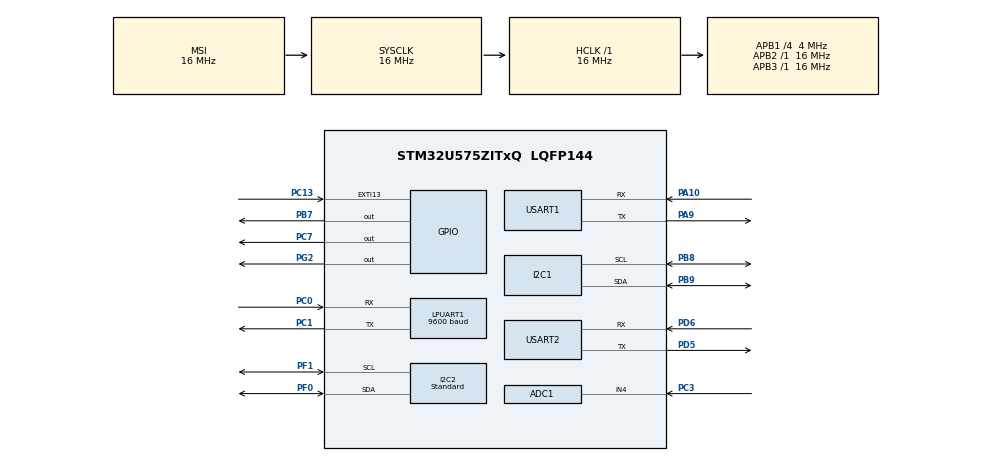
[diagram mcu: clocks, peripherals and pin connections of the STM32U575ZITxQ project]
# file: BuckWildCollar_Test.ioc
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ADC1.Channel-0\#ChannelRegularConversion=ADC_CHANNEL_4
ADC1.ClockPrescaler=ADC_CLOCK_ASYNC_DIV1
ADC1.ContinuousConvMode=ENABLE
ADC1.EnableRegularConversion=ENABLE
ADC1.MonitoredBy-0\#ChannelRegularConversion=__NULL
ADC1.NbrOfConversion=1
ADC1.NbrOfConversionFlag=1
ADC1.OffsetNumber-0\#ChannelRegularConversion=ADC_OFFSET_NONE
ADC1.OversamplingMode=ENABLE
ADC1.Rank-0\#ChannelRegularConversion=1
ADC1.Ratio1=256
ADC1.Resolution=ADC_RESOLUTION_14B
ADC1.RightBitShift=ADC_RIGHTBITSHIFT_8
ADC1.SamplingTime-0\#ChannelRegularConversion=ADC_SAMPLETIME_5CYCLE
ADC1.master=1
CORTEX_M33_NS.userName=CORTEX_M33
I2C1.Timing=0x00000E14
I2C2.AutonomousMode=AUTONOMOUS_MODE_DISABLE
I2C2.GeneralCallMode=I2C_GENERALCALL_DISABLE
I2C2.I2C_Fall_Time=300
I2C2.I2C_Rise_Time=300
I2C2.I2C_Speed_Mode=I2C_Standard
I2C2.NoStretchMode=I2C_NOSTRETCH_DISABLE
I2C2.OwnAddress=0x29
I2C2.Speed=40
I2C2.Timing=0x00201E3D
LPUART1.BaudRate=9600
Mcu.Family=STM32U5
Mcu.Name=STM32U575ZITxQ
Mcu.Package=LQFP144
NUCLEO-U575ZI-Q.BUTTON=1
NUCLEO-U575ZI-Q.LD1=true
NUCLEO-U575ZI-Q.LD2=true
NUCLEO-U575ZI-Q.LD3=true
NUCLEO-U575ZI-Q.VCP=false
NVIC.EXTI13_IRQn=true\:0\:0\:false\:false\:true\:false\:true\:true
NVIC.I2C1_EV_IRQn=true\:0\:0\:false\:false\:true\:true\:true\:true
NVIC.I2C2_ER_IRQn=true\:0\:0\:false\:false\:true\:true\:true\:true
NVIC.I2C2_EV_IRQn=true\:0\:0\:false\:false\:true\:true\:true\:true
NVIC.PriorityGroup=NVIC_PRIORITYGROUP_3
NVIC.TIM17_IRQn=true\:7\:0\:false\:false\:true\:false\:true\:true
NVIC.TimeBase=TIM17_IRQn
NVIC.TimeBaseIP=TIM17
NVIC.USART1_IRQn=true\:0\:0\:false\:false\:true\:true\:true\:true
NVIC.USART2_IRQn=true\:0\:0\:false\:false\:true\:true\:true\:true
PA10.Mode=Asynchronous
PA10.Signal=USART1_RX
PA13\ (JTMS/SWDIO).Signal=DEBUG_JTMS-SWDIO
PA14\ (JTCK/SWCLK).Signal=DEBUG_JTCK-SWCLK
PA9.Mode=Asynchronous
PA9.Signal=USART1_TX
PB3\ (JTDO/TRACESWO).Signal=DEBUG_JTDO-SWO
PB7.Signal=GPIO_Output
PB8.Mode=I2C
PB8.Signal=I2C1_SCL
PB9.Mode=I2C
PB9.Signal=I2C1_SDA
PC0.Mode=Asynchronous
PC0.Signal=LPUART1_RX
PC1.Mode=Asynchronous
PC1.Signal=LPUART1_TX
PC13.Signal=GPXTI13
PC14-OSC32_IN\ (PC14).Signal=RCC_OSC32_IN
PC15-OSC32_OUT\ (PC15).Signal=RCC_OSC32_OUT
PC3.Mode=IN4-Single-Ended
PC3.Signal=ADC1_IN4
PC7.Signal=GPIO_Output
PD5.Mode=Asynchronous
PD5.Signal=USART2_TX
PD6.Mode=Asynchronous
PD6.Signal=USART2_RX
PF0.GPIO_Pu=GPIO_PULLUP
PF0.Mode=I2C
PF0.Signal=I2C2_SDA
PF1.Mode=I2C
PF1.Signal=I2C2_SCL
PG2.Signal=GPIO_Output
PWR.PowerMode=PWR_SMPS_SUPPLY
ProjectManager.HeapSize=0x200
ProjectManager.StackSize=0x400
ProjectManager.TargetToolchain=STM32CubeIDE
RCC.ADCFreq_Value=16000000
RCC.AHBFreq_Value=16000000
RCC.APB1CLKDivider=RCC_HCLK_DIV4
RCC.APB1Freq_Value=4000000
RCC.APB1TimFreq_Value=8000000
RCC.APB2Freq_Value=16000000
RCC.APB2TimFreq_Value=16000000
RCC.APB3Freq_Value=16000000
RCC.CortexFreq_Value=16000000
RCC.DACCLockSelectionVirtual=RCC_DAC1CLKSOURCE_LSI
RCC.EPOD_VALUE=16000000
RCC.HCLKFreq_Value=16000000
RCC.HSE_VALUE=16000000
RCC.HSI48_VALUE=48000000
RCC.HSI_VALUE=16000000
RCC.LSE_VALUE=32768
RCC.LSIDIV_VALUE=32000
RCC.MSIClockRange=RCC_MSIRANGE_2
RCC.MSI_VALUE=16000000
RCC.SYSCLKFreq_VALUE=16000000
RCC.USBFreq_Value=48000000
RCC.VCOOutputFreq_Value=2064000000
USART1.VirtualMode-Asynchronous=VM_ASYNC
USART2.VirtualMode-Asynchronous=VM_ASYNC
VP_ICACHE_VS_ENABLE_ICACHE_MEMORY.Mode=Memoryregions
VP_ICACHE_VS_ICACHE.Mode=DirectMappedCache
VP_LPBAMQUEUE_VS_QUEUE.Mode=QUEUEMODE
VP_LPBAM_VS_SIG1.Mode=SmartRun
VP_LPBAM_VS_SIG4.Mode=LPDMA1
VP_MEMORYMAP_VS_MEMORYMAP.Mode=CurAppReg
VP_NUCLEO-U575ZI-Q_VS_BSP_COMMON.Mode=COMMON
VP_PWR_VS_DBSignals.Mode=DisableDeadBatterySignals
VP_PWR_VS_LPOM.Mode=PowerOptimisation
VP_PWR_VS_SECSignals.Mode=Security/Privilege
VP_PWR_Vdda.Mode=isolationVdda
VP_SYS_VS_tim17.Mode=TIM17
board=NUCLEO-U575ZI-Q

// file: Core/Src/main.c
/* USER CODE BEGIN Header */
/**
  ******************************************************************************
  * @file           : main.c
  * @brief          : Main program body
  ******************************************************************************
  * @attention
  *
  * Copyright (c) 2026 STMicroelectronics.
  * All rights reserved.
  *
  * This software is licensed under terms that can be found in the LICENSE file
  * in the root directory of this software component.
  * If no LICENSE file comes with this software, it is provided AS-IS.
  *
  ******************************************************************************
  */
/* USER CODE END Header */
#include "main.h"
#include "adc.h"
#include "i2c.h"
#include "icache.h"
#include "usart.h"
#include "gpio.h"

/* USER CODE BEGIN Includes */

// stdlib Includes
#include <math.h>
#include <stdarg.h>
#include <stdbool.h>
#include <stdint.h>
#include <stdio.h>
#include <stdlib.h>
#include <string.h>

#define BUFFER_SIZE 64

// external libraries
#include "bno055.h"
#include "bno_config.h"

typedef enum{
	idle,
	button_pressed,
	active,
	orientation_receive,
	adc_receive,
} Microcontroller_State;

// Useful Variables
uint8_t uart1_tx_buffer[BUFFER_SIZE] = "Error: Initial TX1 String\r\n";
uint8_t uart1_rx_buffer[BUFFER_SIZE] = "Error: Initial RX1 String\r\n";
uint8_t uart2_tx_buffer[BUFFER_SIZE] = "Error: Initial TX2 String\r\n";
uint8_t uart2_rx_buffer[BUFFER_SIZE] = ""; // "Error: Initial RX2 String\r\n";

// ADC
// 14-bit = 16384 MAX
static int adc_resistor; // Display value directly from the ADC
static int force_resistor; // Display pseudo "resistance value"

//BNO055
bno055_t bno;
error_bno err;

static uint8_t empty_array[BUFFER_SIZE] = "";

/* USER CODE END Includes */

void SystemClock_Config(void);
static void SystemPower_Config(void);

/* USER CODE BEGIN 0 */

static void print(UART_HandleTypeDef *huart, const char *fmt, ...);
static int Get_ADC();

static void print(UART_HandleTypeDef *huart, const char *fmt, ...) {
	// Function to print messages through USART1
	// Outputs through microUSB to laptop, 115200 baud
	// Use for sending debug messages to terminal
	// Set up in the console tab on bottom, and then on the bottom right of screen click the icon to the left of the minus sign (white box with blue on top)
	// Then, do command shell console, and set Serial with 115200 baud.
  static char buffer[256];
  va_list args;
  va_start(args, fmt);
  vsnprintf(buffer, sizeof(buffer), fmt, args);
  va_end(args);

  int len = strlen(buffer);
  HAL_UART_Transmit(huart, (uint8_t *)buffer, len, -1);
  return;
}

static int Get_ADC(){
	//TODO: Add Calibration for Max / Min
	// Get ADC value and put into global variable force_resistor

	HAL_ADC_Start(&hadc1); // Start polling
	HAL_ADC_PollForConversion(&hadc1, 1); // Check Timeout or switch to IT based
	adc_resistor = HAL_ADC_GetValue(&hadc1); // Take ADC Value
	HAL_ADC_Stop(&hadc1); // Stop polling

	force_resistor = adc_resistor; // TODO: Convert from adc_resistor to "resistance" value.
	return force_resistor;
}

void HAL_ADC_ConvCpltCallback(ADC_HandleTypeDef *hadc) {
  return; // ADC Callback for Later Use??
}

//static void uart_rx(UART_HandleTypeDef *huart, uint8_t *buffer){
//	HAL_UART_Receive_IT(huart, (uint8_t *)buffer, BUFFER_SIZE);
//}
//
//static void uart_tx(UART_HandleTypeDef *huart, uint8_t *buffer){
//	HAL_UART_Transmit_IT(huart, (uint8_t *)buffer, BUFFER_SIZE);
//}

#define TMP102_I2C_ADDR 0x48
#define I2C_TIMING_100KHZ 0x10C0ECFF
#define SINE_SAMPLES 32
#define SYSCLK_HZ 160000000

void I2C1_Init(void)
{
RCC->AHB2ENR1 |= (1 << 1); // GPIOB
RCC->APB1ENR1 |= (1 << 21); // I2C1
GPIOB->MODER &= ~((3 << (8 * 2)) | (3 << (9 * 2)));
GPIOB->MODER |= ((2 << (8 * 2)) | (2 << (9 * 2)));
GPIOB->OTYPER |= (1 << 8) | (1 << 9);
GPIOB->PUPDR &= ~((3 << (8 * 2)) | (3 << (9 * 2)));
GPIOB->PUPDR |= ((1 << (8 * 2)) | (1 << (9 * 2)));
GPIOB->AFR[1] &= ~(0xFF);
GPIOB->AFR[1] |= (0x44);
 I2C1->CR1 &= ~(1 << 0);
I2C1->TIMINGR = I2C_TIMING_100KHZ;
I2C1->CR1 |= (1 << 0); // Enable I2C
}

/* USER CODE END 0 */

int main(void)
{

  /* MCU Configuration--------------------------------------------------------*/

  /* Reset of all peripherals, Initializes the Flash interface and the Systick. */
  HAL_Init();

  /* Configure the System Power */
  SystemPower_Config();

  /* Configure the system clock */
  SystemClock_Config();

  /* Initialize all configured peripherals */
  MX_GPIO_Init();
  MX_ICACHE_Init();
  MX_LPUART1_UART_Init();
  MX_USART1_UART_Init();
  MX_USART2_UART_Init();
  MX_ADC1_Init();
  MX_I2C2_Init();
  MX_I2C1_Init();
  /* USER CODE BEGIN 2 */
  print(&huart1, "Peripherals Configured");
  /* USER CODE END 2 */

  /* Initialize leds */
  BSP_LED_Init(LED_GREEN);
  BSP_LED_Init(LED_BLUE);
  BSP_LED_Init(LED_RED);

  /* Initialize USER push-button, will be used to trigger an interrupt each time it's pressed.*/
  BSP_PB_Init(BUTTON_USER, BUTTON_MODE_EXTI);

  /* Infinite loop */
  /* USER CODE BEGIN WHILE */

  int address = 0x29;
  int error = 0;
  uint8_t msg1[64] = "Test";

  uint8_t test_message[64];
  test_message[0] = 170;
  test_message[1] = 0x00;
  test_message[2] = 0x3D;
  test_message[3] = 0x01;
  test_message[4] = 0b00001100; // xxxx1100b for NDOF
  memcpy(uart2_tx_buffer, test_message, BUFFER_SIZE);
  HAL_Delay(20);
  print(&huart1, "\r\n");
  HAL_UART_Transmit(&huart2, uart2_tx_buffer, 5, 10);
  HAL_UART_Receive(&huart2, uart2_rx_buffer, BUFFER_SIZE, 10);

  test_message[0] = 170;
  test_message[1] = 1;
  test_message[2] = 0x19;
  test_message[3] = 2;

  memcpy(uart2_tx_buffer, test_message, BUFFER_SIZE);
  print(&huart1, "\r\n");

  uint16_t combined;

  while(1){
	 HAL_UART_Transmit(&huart2, uart2_tx_buffer, 4, 10);
	 HAL_UART_Receive(&huart2, uart2_rx_buffer, BUFFER_SIZE, 10);

	 HAL_Delay(10);

//	 for (int i=0; i<BUFFER_SIZE; i++){
//		 if (uart2_rx_buffer[i] < 0x10){
//			 print(&huart1, "0%x", uart2_rx_buffer[i]);
//		 }
//		 else{
//			 print(&huart1, "%x", uart2_rx_buffer[i]);
//		 }
//	 }

	 // SUSPECT LINE OF CODE HERE>>>>> only goes up to 256/???s WJUYYYYHYYYY
	 combined = (uart2_rx_buffer[2] << 8 | uart2_rx_buffer[3]);
	 print(&huart1, "%d", combined);

	 print(&huart1, "\r\n");
	 memcpy(uart2_rx_buffer, empty_array, BUFFER_SIZE);

  }

  int button;
  int state = idle;

  print(&huart1, "Entering Main Loop");
  while(1){
	  if (state == idle){
		  button = BSP_PB_GetState(BUTTON_USER);
		  if (button == 1){
			  button = 0;
			  state = button_pressed;
		  }
	  }
	  else if (state == button_pressed){
		  print(&huart1, "Button Activated\r\n");
		  state = orientation_receive;
	  }
	  else if (state == orientation_receive){
		  state = idle;
	  }
	  else if (state == adc_receive){
		  Get_ADC();
		  print(&huart1, "%d\r\n", force_resistor);
		  state = idle;
	  }

	  print(&huart1, "%d\r\n", state);
  }

    /* USER CODE END WHILE */

}

void SystemClock_Config(void)
{
  RCC_OscInitTypeDef RCC_OscInitStruct = {0};
  RCC_ClkInitTypeDef RCC_ClkInitStruct = {0};

  /** Configure the main internal regulator output voltage
  */
  if (HAL_PWREx_ControlVoltageScaling(PWR_REGULATOR_VOLTAGE_SCALE4) != HAL_OK)
  {
    Error_Handler();
  }

  /** Initializes the CPU, AHB and APB buses clocks
  */
  RCC_OscInitStruct.OscillatorType = RCC_OSCILLATORTYPE_HSI|RCC_OSCILLATORTYPE_MSI;
  RCC_OscInitStruct.HSIState = RCC_HSI_ON;
  RCC_OscInitStruct.HSICalibrationValue = RCC_HSICALIBRATION_DEFAULT;
  RCC_OscInitStruct.MSIState = RCC_MSI_ON;
  RCC_OscInitStruct.MSICalibrationValue = RCC_MSICALIBRATION_DEFAULT;
  RCC_OscInitStruct.MSIClockRange = RCC_MSIRANGE_2;
  RCC_OscInitStruct.PLL.PLLState = RCC_PLL_NONE;
  if (HAL_RCC_OscConfig(&RCC_OscInitStruct) != HAL_OK)
  {
    Error_Handler();
  }

  /** Initializes the CPU, AHB and APB buses clocks
  */
  RCC_ClkInitStruct.ClockType = RCC_CLOCKTYPE_HCLK|RCC_CLOCKTYPE_SYSCLK
                              |RCC_CLOCKTYPE_PCLK1|RCC_CLOCKTYPE_PCLK2
                              |RCC_CLOCKTYPE_PCLK3;
  RCC_ClkInitStruct.SYSCLKSource = RCC_SYSCLKSOURCE_MSI;
  RCC_ClkInitStruct.AHBCLKDivider = RCC_SYSCLK_DIV1;
  RCC_ClkInitStruct.APB1CLKDivider = RCC_HCLK_DIV4;
  RCC_ClkInitStruct.APB2CLKDivider = RCC_HCLK_DIV1;
  RCC_ClkInitStruct.APB3CLKDivider = RCC_HCLK_DIV1;

  if (HAL_RCC_ClockConfig(&RCC_ClkInitStruct, FLASH_LATENCY_1) != HAL_OK)
  {
    Error_Handler();
  }
}

/**
  * @brief Power Configuration
  * @retval None
  */
static void SystemPower_Config(void)
{

  /*
   * Disable the internal Pull-Up in Dead Battery pins of UCPD peripheral
   */
  HAL_PWREx_DisableUCPDDeadBattery();

  /*
   * Switch to SMPS regulator instead of LDO
   */
  if (HAL_PWREx_ConfigSupply(PWR_SMPS_SUPPLY) != HAL_OK)
  {
    Error_Handler();
  }
}

void HAL_TIM_PeriodElapsedCallback(TIM_HandleTypeDef *htim)
{
  if (htim->Instance == TIM17)
  {
    HAL_IncTick();
  }
}

void Error_Handler(void)
{
  /* USER CODE BEGIN Error_Handler_Debug */
  /* User can add his own implementation to report the HAL error return state */
  __disable_irq();
  while (1)
  {
	  print(&huart1, "Error");
  }
  /* USER CODE END Error_Handler_Debug */
}
